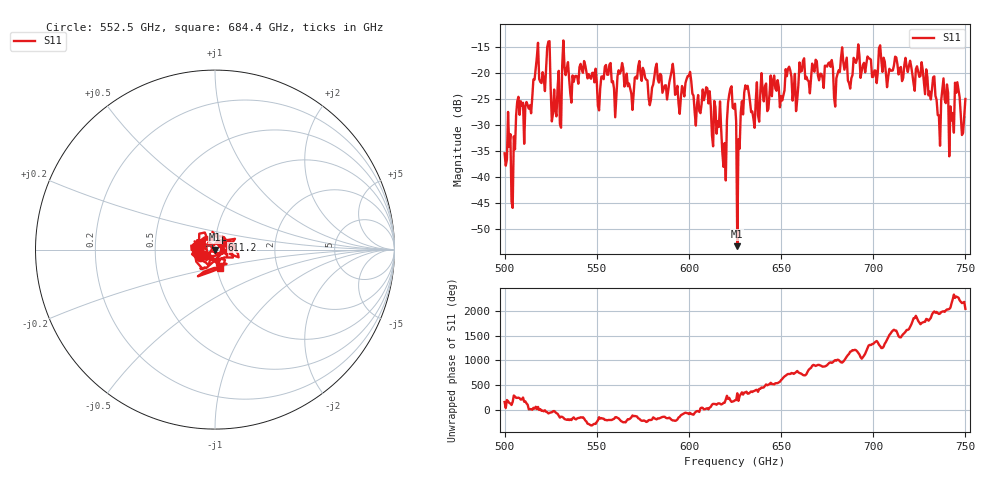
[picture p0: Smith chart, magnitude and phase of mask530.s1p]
!Created with skrf (http://scikit-rf.org).
# GHz S MA R 50.0
!freq magS11 angS11
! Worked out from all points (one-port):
!   401 points, 500 GHz to 750 GHz, reference 50 ohm
!   lowest |S11| = -53.3 dB at 626.2 GHz (marker M1), VSWR 1.00, Z = 50.2 - j0.0642 ohm
!   |S11| at or under -10 dB: start of sweep to end of sweep
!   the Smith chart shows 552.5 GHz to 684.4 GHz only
!   S11 on the Smith chart (normalised r, x): 552.5 GHz: 0.84, -0.07; 611.2 GHz: 1.07, +0.12; 684.4 GHz: 1.04, -0.22
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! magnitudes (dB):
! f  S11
! 500 GHz  -35.4
! 504.4 GHz  -45.9
! 507.5 GHz  -24.6
! 513.8 GHz  -26.2
! 516.9 GHz  -19.1
! 523.8 GHz  -14.0
! 526.9 GHz  -23.2
! 531.2 GHz  -18.5
! 552.5 GHz  -20.7
! 562.5 GHz  -20.1
! 593.8 GHz  -22.5
! 600 GHz  -20.6
! 611.2 GHz  -23.5
! 618.8 GHz  -38.0
! 623.1 GHz  -22.5
! 625 GHz  -25.9
! 626.2 GHz  -53.3
! 631.2 GHz  -23.0
! 635 GHz  -28.8
! 656.2 GHz  -25.3
! 684.4 GHz  -19.4
! 687.5 GHz  -23.0
! 718.8 GHz  -19.8
! 735.6 GHz  -28.2
! 739.4 GHz  -25.8
! 742.5 GHz  -29.1
! 745.6 GHz  -21.8
! 750 GHz  -25.0
